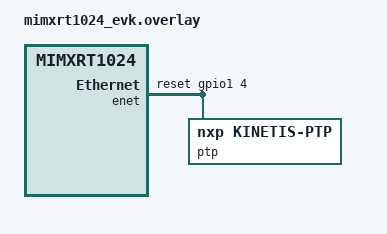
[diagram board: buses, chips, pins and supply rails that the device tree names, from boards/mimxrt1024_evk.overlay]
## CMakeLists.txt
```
# SPDX-License-Identifier: Apache-2.0

cmake_minimum_required(VERSION 3.20.0)

find_package(Zephyr REQUIRED HINTS $ENV{ZEPHYR_BASE})
project(fw_update_new)

target_sources(app PRIVATE src/main.c)
```

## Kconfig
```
# Copyright (c) 2021-2025 Golioth, Inc.
# SPDX-License-Identifier: Apache-2.0

source "${ZEPHYR_GOLIOTH_FIRMWARE_SDK_MODULE_DIR}/examples/zephyr/common/Kconfig.defconfig"

config GOLIOTH_CI_TESTING_SDK_VER
    string "The Golioth Firmware SDK version used to compile"
    default "Unspecified"
    help
        Specify in prj.conf to indicated SDK used for artifact build

source "Kconfig.zephyr"
```

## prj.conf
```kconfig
# Application
CONFIG_GOLIOTH_SAMPLE_COMMON=y
CONFIG_GOLIOTH_SAMPLE_HARDCODED_CREDENTIALS=y
CONFIG_LOG_BACKEND_GOLIOTH=y

# Golioth Firmware SDK with all dependencies
CONFIG_GOLIOTH_FIRMWARE_SDK=y
CONFIG_GOLIOTH_FW_UPDATE=y

CONFIG_FLASH=y
CONFIG_FLASH_MAP=y
CONFIG_STREAM_FLASH=y
CONFIG_IMG_MANAGER=y
CONFIG_IMG_ERASE_PROGRESSIVELY=y

# Firmware version used in FW Update process
CONFIG_GOLIOTH_CI_TESTING_SDK_VER="v0.17.0"

# The rest enables runtime credentials
CONFIG_GOLIOTH_SAMPLE_HARDCODED_CREDENTIALS=n

CONFIG_FLASH=y
CONFIG_FLASH_MAP=y
CONFIG_NVS=y

CONFIG_SETTINGS=y
CONFIG_SETTINGS_RUNTIME=y
CONFIG_GOLIOTH_SAMPLE_SETTINGS=y
CONFIG_GOLIOTH_SAMPLE_WIFI_SETTINGS=y
CONFIG_GOLIOTH_SAMPLE_SETTINGS_AUTOLOAD=y
CONFIG_GOLIOTH_SAMPLE_SETTINGS_SHELL=y

CONFIG_BOOTLOADER_MCUBOOT=y
```

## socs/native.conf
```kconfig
# Use offloaded sockets using host BSD sockets
CONFIG_ETH_DRIVER=n
CONFIG_ETH_NATIVE_POSIX=n
CONFIG_NET_DRIVERS=y
CONFIG_NET_SOCKETS=y
CONFIG_NET_SOCKETS_OFFLOAD=y
CONFIG_NET_NATIVE_OFFLOADED_SOCKETS=y
CONFIG_HEAP_MEM_POOL_SIZE=1024

# Use embedded libc to use Zephyr's eventfd instead of host eventfd
CONFIG_PICOLIBC=y

# Static networking
CONFIG_NET_CONFIG_LOG_LEVEL_DBG=y
CONFIG_NET_CONFIG_SETTINGS=y
CONFIG_NET_CONFIG_NEED_IPV4=y
CONFIG_NET_CONFIG_MY_IPV4_ADDR="192.0.2.1"
CONFIG_NET_CONFIG_MY_IPV4_GW="192.0.2.2"
CONFIG_NET_CONFIG_PEER_IPV4_ADDR="192.0.2.2"

# Disabled shell for using standard output
CONFIG_NET_SHELL=n
CONFIG_SHELL=n
```

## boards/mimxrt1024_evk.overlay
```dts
/ {
	soc {
		/delete-node/ enet@402d8000;

		enet: ethernet@402d8000 {
			compatible = "nxp,kinetis-ethernet";
			reg = <0x402D8000 0x628>;
			interrupts = <114 0>;
			interrupt-names = "COMMON";
			status = "disabled";
			phy-addr = <0>;
			ptp: ptp {
				compatible = "nxp,kinetis-ptp";
				status = "disabled";
				interrupts = <115 0>;
				interrupt-names = "IEEE1588_TMR";
			};
		};
	};
};

&enet {
	status = "okay";
	pinctrl-0 = <&pinmux_enet>;
	pinctrl-names = "default";
	int-gpios = <&gpio1 22 GPIO_ACTIVE_HIGH>;
	reset-gpios = <&gpio1 4 GPIO_ACTIVE_HIGH>;
	ptp {
		status = "okay";
		pinctrl-0 = <&pinmux_ptp>;
		pinctrl-names = "default";
	};
};

&pinctrl {
	/delete-node/ pinmux_enet;
	/delete-node/ pinmux_enet_mdio;
	/delete-node/ pinmux_ptp;

	pinmux_enet: pinmux_enet {
		group0 {
			pinmux = <&iomuxc_gpio_ad_b0_08_enet_ref_clk>;
			bias-disable;
			drive-strength = "r0-6";
			slew-rate = "fast";
			nxp,speed = "50-mhz";
			input-enable;
		};
		group1 {
			pinmux = <&iomuxc_gpio_ad_b0_04_gpio1_io04>;
			drive-strength = "r0-5";
			bias-pull-up;
			bias-pull-up-value = "100k";
			slew-rate = "fast";
			nxp,speed = "100-mhz";
		};
		group2 {
			pinmux = <&iomuxc_gpio_ad_b0_09_enet_rx_data1>,
				<&iomuxc_gpio_ad_b0_11_enet_rx_en>,
				<&iomuxc_gpio_ad_b0_14_enet_tx_data0>,
				<&iomuxc_gpio_ad_b0_15_enet_tx_data1>,
				<&iomuxc_gpio_ad_b0_13_enet_tx_en>,
				<&iomuxc_gpio_ad_b0_12_enet_rx_er>,
				<&iomuxc_gpio_emc_40_enet_mdio>,
				<&iomuxc_gpio_emc_41_enet_mdc>;
			drive-strength = "r0-5";
			bias-pull-up;
			bias-pull-up-value = "100k";
			slew-rate = "fast";
			nxp,speed = "200-mhz";
		};
		group3 {
			pinmux = <&iomuxc_gpio_ad_b1_06_gpio1_io22>;
			drive-strength = "r0-5";
			bias-pull-up;
			bias-pull-up-value = "100k";
			slew-rate = "slow";
			nxp,speed = "100-mhz";
		};
		group4 {
			pinmux = <&iomuxc_gpio_ad_b0_10_enet_rx_data0>;
			drive-strength = "r0-6";
			slew-rate = "slow";
			nxp,speed = "100-mhz";
		};
	};

	/* intentionally left empty */
	pinmux_ptp: pinmux_ptp {
	};
};
```

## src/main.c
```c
/*
 * Copyright (c) 2023-2025 Golioth, Inc.
 *
 * SPDX-License-Identifier: Apache-2.0
 */

#include <zephyr/logging/log.h>
LOG_MODULE_REGISTER(fw_update_sample, LOG_LEVEL_DBG);

#include <golioth/client.h>
#include <golioth/fw_update.h>
#include <samples/common/sample_credentials.h>
#include <string.h>
#include <zephyr/kernel.h>

#include <samples/common/net_connect.h>

#include <app_version.h>

// Current firmware version; update in VERSION
static const char *_current_version =
    STRINGIFY(APP_VERSION_MAJOR) "." STRINGIFY(APP_VERSION_MINOR) "." STRINGIFY(APP_PATCHLEVEL);

static K_SEM_DEFINE(connected, 0, 1);

static void on_client_event(struct golioth_client *client,
                            enum golioth_client_event event,
                            void *arg)
{
    bool is_connected = (event == GOLIOTH_CLIENT_EVENT_CONNECTED);
    if (is_connected)
    {
        k_sem_give(&connected);
    }
    LOG_INF("Golioth client %s", is_connected ? "connected" : "disconnected");
}

int main(void)
{
    LOG_INF("CI Testing fw_update artifact");
    LOG_INF("Golioth Firmware SDK version: %s", CONFIG_GOLIOTH_CI_TESTING_SDK_VER);

    net_connect();

    /* Note: In production, you would provision unique credentials onto each
     * device. For simplicity, we provide a utility to hardcode credentials as
     * kconfig options in the samples.
     */
    const struct golioth_client_config *client_config = golioth_sample_credentials_get();

    struct golioth_client *client = golioth_client_create(client_config);

    golioth_client_register_event_callback(client, on_client_event, NULL);

    golioth_fw_update_init(client, _current_version);

    k_sem_take(&connected, K_FOREVER);

    /* No while(true) loop needed, the Golioth client thread will handle updates */

    return 0;
}
```
